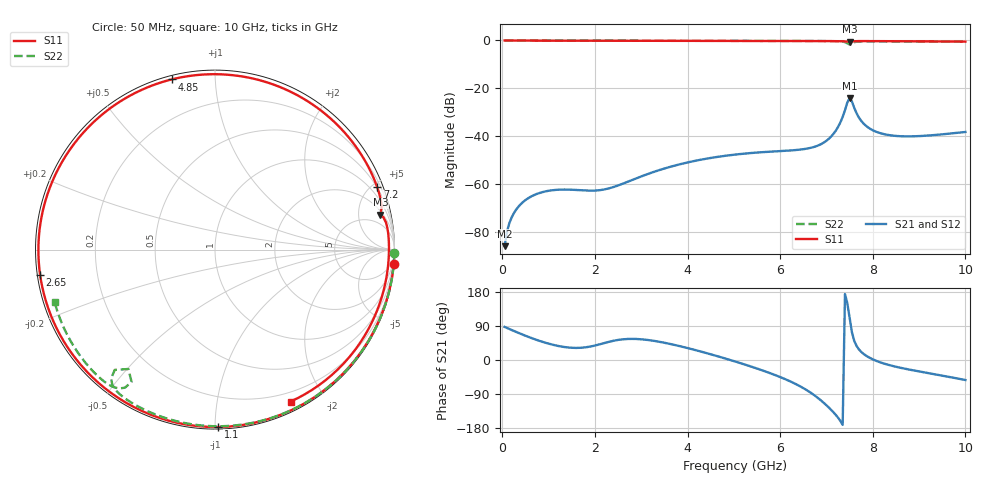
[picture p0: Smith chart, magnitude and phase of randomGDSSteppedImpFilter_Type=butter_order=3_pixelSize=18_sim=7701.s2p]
! freq	dB(S11)	phase(S11)	dB(S12)	phase(S12)
!  dB(S21)	phase(S21)	dB(S22)	phase(S22)
!S-par simulation data
#  GHz  S  DB  R 50
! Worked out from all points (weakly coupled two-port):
!   200 points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, 50 MHz to 10 GHz, reference 50 ohm
!   highest |S21| = -24.06 dB at 7.5 GHz (marker M1); lowest = -86.0 dB at 50 MHz (marker M2)
!   lowest |S11| = -0.5 dB at 7.5 GHz (marker M3), VSWR 33.33, Z = 129 + j443 ohm
!   |S11| at or under -10 dB: nowhere
!   |S22| runs from -1.7 to 0.0 dB; largest |S21 - S12| = 0
!   S11 on the Smith chart (normalised r, x): 50 MHz: 0, -26; 1.1 GHz: 0.01, -1.02; 2.65 GHz: 0.01, -0.07; 4.85 GHz: 0.02, +0.78; 7.2 GHz: 0.48, +5.35; 10 GHz: 0.10, -1.61
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0.05  -0.00 -4.5  -85.97 87.3  -85.97 87.3  -0.00 -1.0
0.1  -0.01 -8.9  -79.97 84.6  -79.97 84.6  -0.00 -1.9
0.25  -0.03 -22.1  -72.17 76.7  -72.17 76.7  -0.01 -4.8
0.45  -0.05 -39.2  -67.49 66.5  -67.49 66.5  -0.01 -8.5
0.75  -0.08 -63.4  -64.10 52.7  -64.10 52.7  -0.02 -14.2
1.1  -0.10 -88.9  -62.55 40.0  -62.55 40.0  -0.03 -20.8
1.75  -0.12 -128.6  -62.67 32.8  -62.67 32.8  -0.04 -32.8
2.2  -0.13 -151.5  -62.28 44.6  -62.28 44.6  -0.05 -41.0
2.65  -0.14 -171.9  -59.49 55.1  -59.49 55.1  -0.06 -49.0
3.4  -0.15 157.8  -54.11 47.9  -54.11 47.9  -0.08 -62.1
4.15  -0.17 129.7  -50.36 26.8  -50.36 26.8  -0.10 -74.7
4.85  -0.19 104.3  -48.10 2.7  -48.10 2.7  -0.13 -86.1
5.05  -0.19 97.1  -47.64 -4.7  -47.64 -4.7  -0.14 -89.3
5.85  -0.22 68.5  -46.40 -37.8  -46.40 -37.8  -0.17 -101.8
6.7  -0.24 38.4  -44.68 -89.7  -44.68 -89.7  -0.23 -115.0
7.2  -0.28 21.0  -37.73 -144.7  -37.73 -144.7  -0.32 -123.6
7.4  -0.39 14.0  -29.14 174.0  -29.14 174.0  -0.70 -128.9
7.5  -0.52 11.9  -24.06 111.1  -24.06 111.1  -1.70 -126.0
7.6  -0.31 9.0  -28.16 50.4  -28.16 50.4  -0.73 -123.1
7.8  -0.27 1.9  -34.71 16.2  -34.71 16.2  -0.38 -128.3
8.35  -0.30 -15.9  -39.56 -13.3  -39.56 -13.3  -0.36 -137.4
10  -0.49 -63.6  -38.25 -52.8  -38.25 -52.8  -0.54 -161.9
